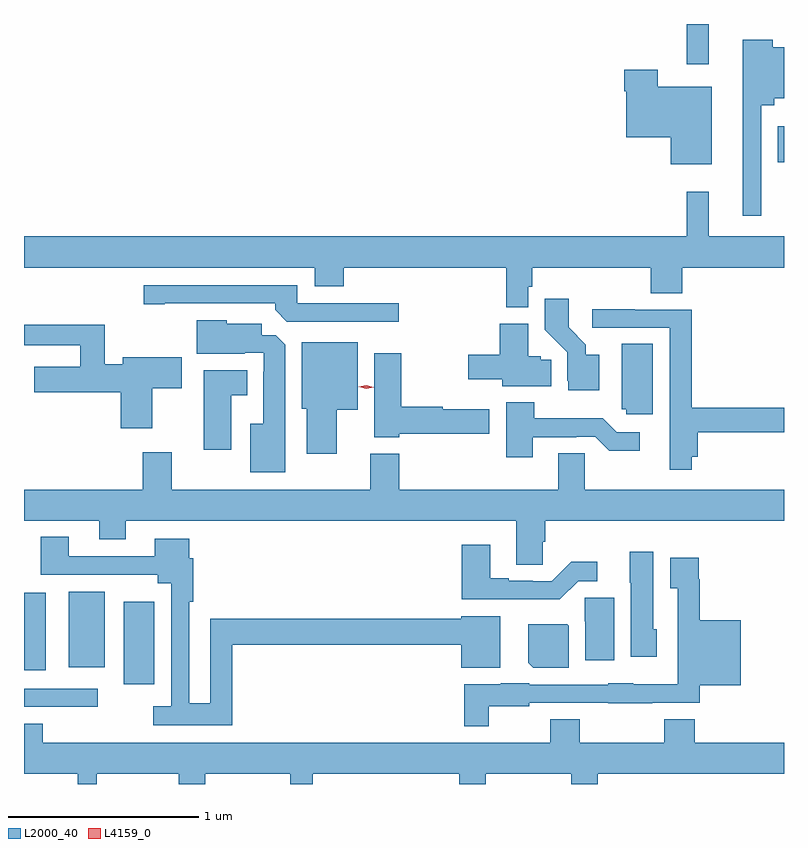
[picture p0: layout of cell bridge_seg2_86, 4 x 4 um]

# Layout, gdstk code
import gdstk
lib = gdstk.Library(unit=1e-6, precision=1e-09)
def R(c, l, rs):  # rectangles x0, y0, x1, y1
    for r in rs: c.add(gdstk.rectangle(r[:2], r[2:], *l))
def P(c, l, *ps):  # polygons
    for p in ps: c.add(gdstk.Polygon(p, *l))
L2000_40 = (2000, 40)
L4159_0 = (4159, 0)

bridge_seg2_86 = lib.new_cell('bridge_seg2_86')
R(bridge_seg2_86, L2000_40, [(326.898,614.688,327.286,614.784), (327.422,614.808,327.583,615.241), (326.898,614.882,327.013,615.289), (327.134,614.897,327.322,615.295), (330.866,617.555,330.898,617.743), (330.385,618.069,330.502,618.282)])
P(bridge_seg2_86, L2000_40, [(330.777,617.855),(330.846,617.855),(330.846,617.891),(330.898,617.891),(330.898,618.16),(330.838,618.16),(330.838,618.199),(330.68,618.199),(330.68,617.274),(330.777,617.274)],
  [(330.517,617.953),(330.234,617.953),(330.234,618.04),(330.056,618.04),(330.056,617.927),(330.068,617.927),(330.068,617.687),(330.302,617.687),(330.302,617.543),(330.517,617.543)],
  [(329.553,616.899),(329.573,616.899),(329.573,617),(330.197,617),(330.197,616.864),(330.362,616.864),(330.362,617),(330.898,617),(330.898,617.164),(330.503,617.164),(330.503,617.398),(330.385,617.398),(330.385,617.164),(326.898,617.164),(326.898,617),(328.427,617),(328.427,616.901),(328.58,616.901),(328.58,617),(329.437,617),(329.437,616.79),(329.553,616.79)],
  [(328.87,616.812),(328.335,616.812),(328.335,616.908),(327.528,616.908),(327.528,616.807),(327.64,616.807),(327.64,616.812),(328.22,616.812),(328.22,616.778),(328.281,616.716),(328.87,616.716)],
  [(329.926,616.54),(329.854,616.54),(329.854,616.595),(329.764,616.685),(329.764,616.837),(329.638,616.837),(329.638,616.674),(329.757,616.555),(329.757,616.404),(329.762,616.404),(329.762,616.355),(329.926,616.355)],
  [(330.413,616.004),(330.443,616.004),(330.443,616.134),(330.898,616.134),(330.898,616.262),(330.413,616.262),(330.413,616.779),(330.113,616.779),(330.113,616.782),(329.889,616.782),(329.889,616.683),(330.297,616.683),(330.297,615.936),(330.413,615.936)],
  [(328.273,616.595),(328.224,616.644),(328.15,616.644),(328.15,616.705),(327.966,616.705),(327.966,616.723),(327.806,616.723),(327.806,616.547),(328.061,616.547),(328.061,616.551),(328.161,616.551),(328.161,616.451),(328.157,616.451),(328.157,616.177),(328.088,616.177),(328.088,615.923),(328.273,615.923)],
  [(329.672,616.514),(329.619,616.514),(329.619,616.533),(329.551,616.533),(329.551,616.705),(329.402,616.705),(329.402,616.542),(329.235,616.542),(329.235,616.412),(329.414,616.412),(329.414,616.376),(329.672,616.376)],
  [(327.574,616.366),(327.727,616.366),(327.727,616.528),(327.419,616.528),(327.419,616.49),(327.322,616.49),(327.322,616.699),(326.898,616.699),(326.898,616.59),(327.193,616.59),(327.193,616.477),(326.952,616.477),(326.952,616.343),(327.407,616.343),(327.407,616.155),(327.574,616.155)],
  [(328.543,616.253),(328.654,616.253),(328.654,616.606),(328.361,616.606),(328.361,616.257),(328.385,616.257),(328.385,616.02),(328.543,616.02)],
  [(330.208,616.598),(330.044,616.598),(330.044,616.254),(330.069,616.254),(330.069,616.227),(330.208,616.227)],
  [(328.872,616.126),(329.347,616.126),(329.347,616.255),(329.103,616.255),(329.103,616.268),(328.884,616.268),(328.884,616.549),(328.742,616.549),(328.742,616.106),(328.872,616.106)],
  [(327.988,616.328),(328.072,616.328),(328.072,616.459),(327.845,616.459),(327.845,616.041),(327.988,616.041)],
  [(329.575,616.107),(329.804,616.107),(329.804,616.11),(329.904,616.11),(329.977,616.037),(330.139,616.037),(330.139,616.134),(330.018,616.134),(329.945,616.207),(329.583,616.207),(329.583,616.291),(329.435,616.291),(329.435,616.002),(329.575,616.002)],
  [(328.721,616.021),(328.721,615.832),(327.676,615.832),(327.676,616.027),(327.524,616.027),(327.524,615.832),(326.898,615.832),(326.898,615.668),(327.293,615.668),(327.293,615.569),(327.433,615.569),(327.433,615.668),(329.489,615.668),(329.489,615.436),(329.628,615.436),(329.628,615.558),(329.642,615.558),(329.642,615.668),(330.898,615.668),(330.898,615.832),(329.85,615.832),(329.85,616.022),(329.711,616.022),(329.711,615.832),(328.874,615.832),(328.874,616.021)],
  [(327.995,615.016),(329.198,615.016),(329.198,614.894),(329.404,614.894),(329.404,615.166),(329.198,615.166),(329.198,615.152),(327.879,615.152),(327.879,614.708),(327.768,614.708),(327.768,615.242),(327.788,615.242),(327.788,615.47),(327.769,615.47),(327.769,615.574),(327.587,615.574),(327.587,615.48),(327.133,615.48),(327.133,615.583),(326.986,615.583),(326.986,615.384),(327.602,615.384),(327.602,615.338),(327.672,615.338),(327.672,614.692),(327.579,614.692),(327.579,614.592),(327.995,614.592)],
  [(329.814,615.348),(329.914,615.348),(329.914,615.451),(329.779,615.451),(329.676,615.348),(329.576,615.348),(329.576,615.351),(329.449,615.351),(329.449,615.364),(329.353,615.364),(329.353,615.541),(329.201,615.541),(329.201,615.254),(329.719,615.254)],
  [(330.229,615.096),(330.211,615.096),(330.211,615.505),(330.086,615.505),(330.086,615.342),(330.092,615.342),(330.092,614.952),(330.229,614.952)],
  [(329.344,614.69),(329.556,614.69),(329.556,614.709),(329.973,614.709),(329.973,614.708),(330.205,614.708),(330.205,614.709),(330.455,614.709),(330.455,614.801),(330.67,614.801),(330.67,615.145),(330.455,615.145),(330.455,615.359),(330.448,615.359),(330.448,615.472),(330.299,615.472),(330.299,615.311),(330.339,615.311),(330.339,614.806),(330.105,614.806),(330.105,614.812),(329.973,614.812),(329.973,614.805),(329.556,614.805),(329.556,614.812),(329.406,614.812),(329.406,614.806),(329.215,614.806),(329.215,614.585),(329.344,614.585)],
  [(330.004,615.261),(329.848,615.261),(329.848,615.138),(329.852,615.138),(329.852,614.934),(330.004,614.934)],
  [(329.764,615.116),(329.756,615.124),(329.552,615.124),(329.552,614.92),(329.578,614.894),(329.764,614.894)],
  [(327.28,614.336),(327.713,614.336),(327.713,614.282),(327.853,614.282),(327.853,614.336),(328.298,614.336),(328.298,614.282),(328.419,614.282),(328.419,614.336),(329.189,614.336),(329.189,614.282),(329.329,614.282),(329.329,614.336),(329.777,614.336),(329.777,614.282),(329.917,614.282),(329.917,614.336),(330.898,614.336),(330.898,614.5),(330.428,614.5),(330.428,614.624),(330.268,614.624),(330.268,614.5),(329.823,614.5),(329.823,614.624),(329.668,614.624),(329.668,614.5),(326.996,614.5),(326.996,614.599),(326.898,614.599),(326.898,614.336),(327.182,614.336),(327.182,614.282),(327.28,614.282)])
P(bridge_seg2_86, L4159_0, [(328.699,616.361),(328.661,616.372),(328.66,616.372),(328.661,616.372),(328.699,616.381),(328.738,616.37),(328.738,616.37),(328.738,616.37)])

lib.write_gds('bridge_seg2_86.gds')
